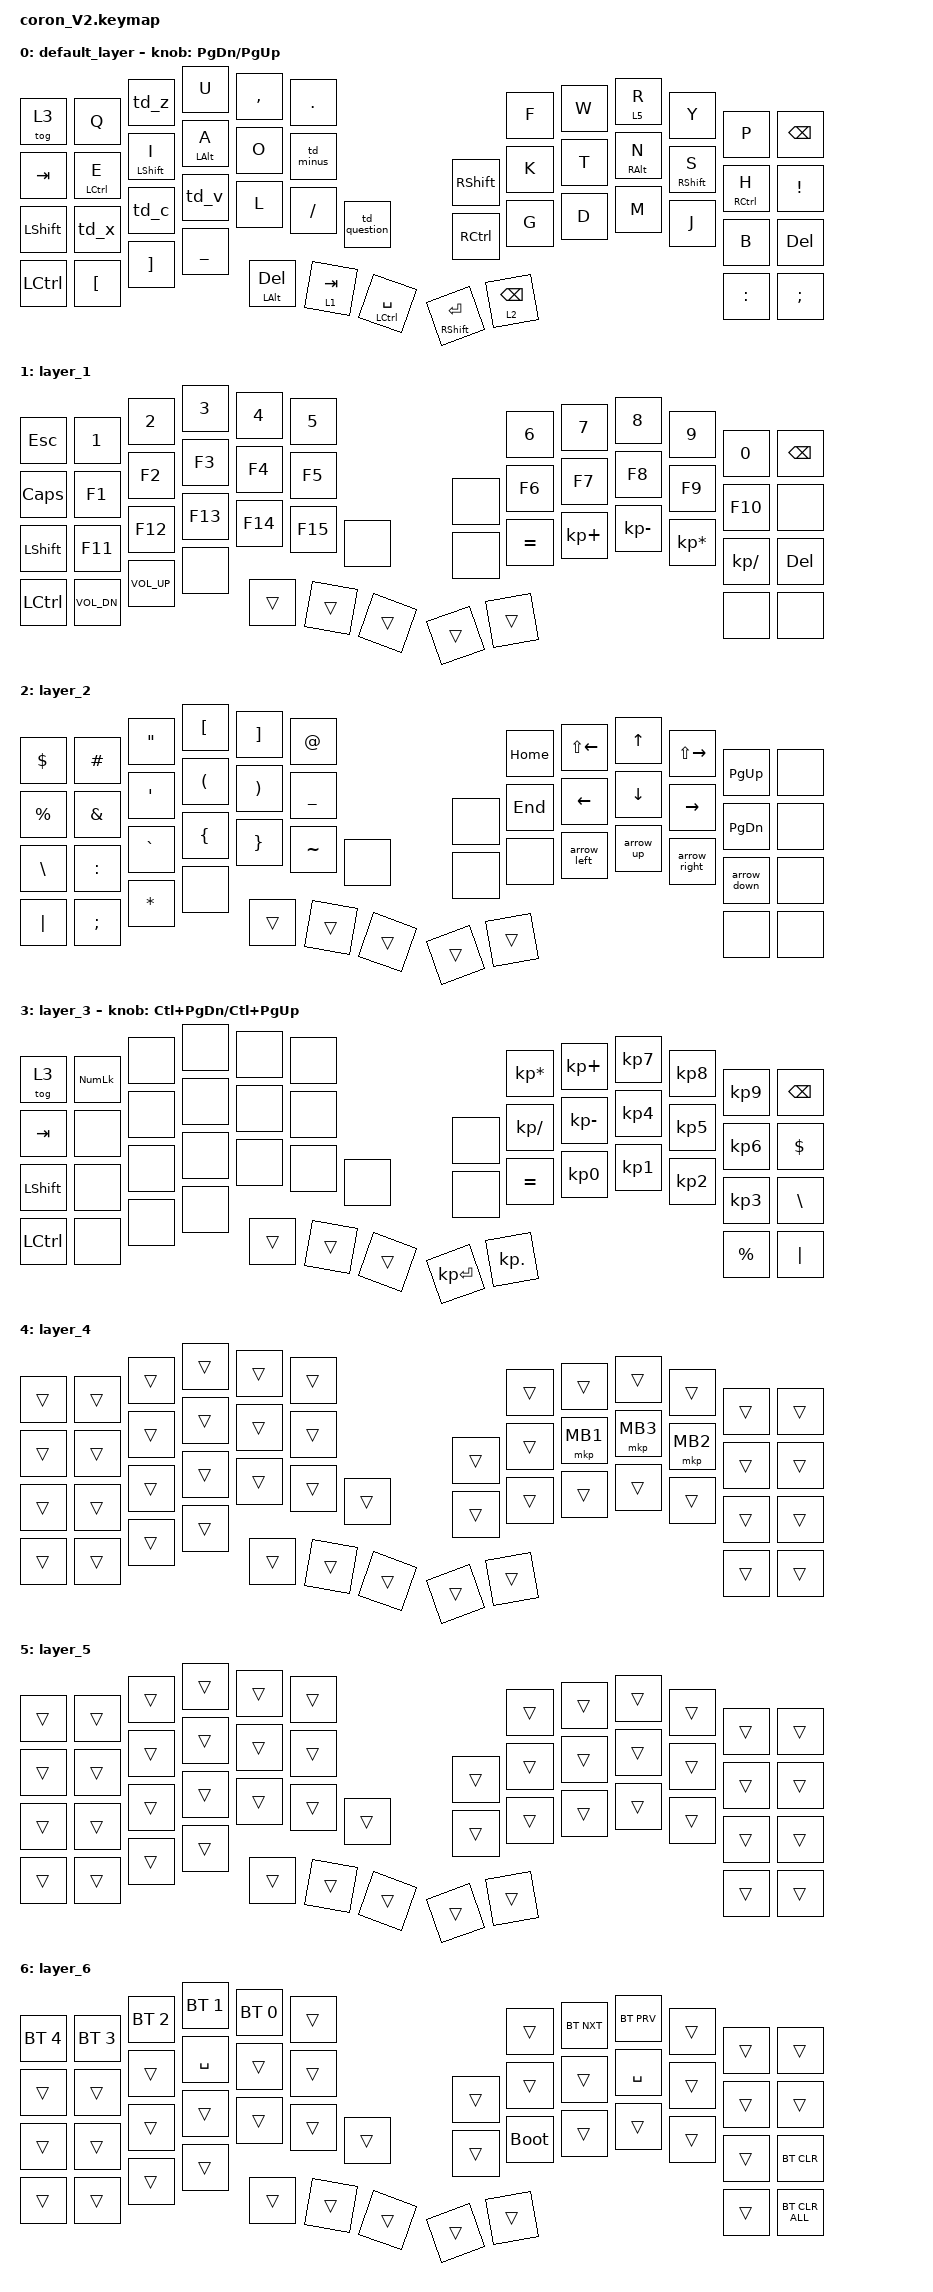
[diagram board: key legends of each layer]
/* coron_V2.keymap */

#include <behaviors.dtsi>
#include <dt-bindings/zmk/bt.h>
#include <dt-bindings/zmk/keys.h>
#include <dt-bindings/zmk/pointing.h>

&mt {
    flavor = "balanced";
    quick-tap-ms = <0>;
};

/* Auto-mouse (layer 4) and scroll (layer 5) live in coron_V2_R.overlay as
   input-processors on &trackball_listener. */

/ {
    combos {
        compatible = "zmk,combos";

        /* Positions follow &default_transform in coron_V2.dtsi:
             row0 0..11   row1 12..24   row2 25..38   row3 39..49 */

        lang_e {
            bindings = <&to_layer_0 LANGUAGE_2>;
            key-positions = <16 15>;
            layers = <0 4>;
        };

        lang_j {
            bindings = <&to_layer_0 LANGUAGE_1>;
            key-positions = <20 21>;
            layers = <0 4>;
        };

        double_n {
            bindings = <&double_n>;
            key-positions = <21 22>;
            layers = <0>;
        };

        mo_6 {                      /* td_1 + td_2 held together */
            bindings = <&mo 6>;
            key-positions = <44 47>;
            layers = <0 4>;
        };
    };

    macros {
        to_layer_0: to_layer_0 {
            compatible = "zmk,behavior-macro-one-param";
            #binding-cells = <1>;
            bindings = <&to 0 &macro_param_1to1 &kp MACRO_PLACEHOLDER>;
            label = "TO_LAYER_0";
        };

        double_n: double_N {
            compatible = "zmk,behavior-macro";
            #binding-cells = <0>;
            bindings = <&kp N &kp N>;
            label = "DOUBLE_N";
        };

        /* Arrow symbols via Windows Unicode hex input.
           Requires HKCU\Control Panel\Input Method\EnableHexNumpad = "1"
           (REG_SZ, then sign out/in) and NumLock on. */

        arrow_left: arrow_left {          /* ← : Alt + KP_PLUS + 2190 (Unicode hex input) */
            compatible = "zmk,behavior-macro";
            #binding-cells = <0>;
            bindings
                = <&macro_press &kp LEFT_ALT>
                , <&macro_tap &kp KP_PLUS &kp KP_N2 &kp KP_N1 &kp KP_N9 &kp KP_N0>
                , <&macro_release &kp LEFT_ALT>
                ;
            label = "ARROW_LEFT";
        };

        arrow_up: arrow_up {          /* ↑ : Alt + KP_PLUS + 2191 (Unicode hex input) */
            compatible = "zmk,behavior-macro";
            #binding-cells = <0>;
            bindings
                = <&macro_press &kp LEFT_ALT>
                , <&macro_tap &kp KP_PLUS &kp KP_N2 &kp KP_N1 &kp KP_N9 &kp KP_N1>
                , <&macro_release &kp LEFT_ALT>
                ;
            label = "ARROW_UP";
        };

        arrow_right: arrow_right {          /* → : Alt + KP_PLUS + 2192 (Unicode hex input) */
            compatible = "zmk,behavior-macro";
            #binding-cells = <0>;
            bindings
                = <&macro_press &kp LEFT_ALT>
                , <&macro_tap &kp KP_PLUS &kp KP_N2 &kp KP_N1 &kp KP_N9 &kp KP_N2>
                , <&macro_release &kp LEFT_ALT>
                ;
            label = "ARROW_RIGHT";
        };

        arrow_down: arrow_down {          /* ↓ : Alt + KP_PLUS + 2193 (Unicode hex input) */
            compatible = "zmk,behavior-macro";
            #binding-cells = <0>;
            bindings
                = <&macro_press &kp LEFT_ALT>
                , <&macro_tap &kp KP_PLUS &kp KP_N2 &kp KP_N1 &kp KP_N9 &kp KP_N3>
                , <&macro_release &kp LEFT_ALT>
                ;
            label = "ARROW_DOWN";
        };
    };

    behaviors {
        lt_to_layer_0: lt_to_layer_0 {
            compatible = "zmk,behavior-hold-tap";
            label = "LAYER_TAP_TO_0";
            bindings = <&mo>, <&to_layer_0>;

            #binding-cells = <2>;
            tapping-term-ms = <200>;
        };

        td_z: td_z {
            compatible = "zmk,behavior-tap-dance";
            label = "TD_Z";
            #binding-cells = <0>;
            bindings = <&kp Z>, <&kp LC(Z)>, <&kp LC(LS(Z))>;
        };

        td_x: td_x {
            compatible = "zmk,behavior-tap-dance";
            label = "TD_X";
            #binding-cells = <0>;
            bindings = <&kp X>, <&kp LC(X)>;
        };

        td_c: td_c {
            compatible = "zmk,behavior-tap-dance";
            label = "TD_C";
            #binding-cells = <0>;
            bindings = <&kp C>, <&kp LC(C)>;
        };

        td_v: td_v {
            compatible = "zmk,behavior-tap-dance";
            label = "TD_V";
            #binding-cells = <0>;
            bindings = <&kp V>, <&kp LC(V)>;
        };

        td_minus: td_minus {
            compatible = "zmk,behavior-tap-dance";
            label = "TD_MINUS";
            #binding-cells = <0>;
            bindings = <&kp MINUS>, <&kp TILDE>;
        };

        td_question: td_question {
            compatible = "zmk,behavior-tap-dance";
            label = "TD_QUESTION";
            #binding-cells = <0>;
            bindings = <&kp QUESTION>, <&kp EXCLAMATION>;
        };

        /* td_*: tap = key, hold = layer/modifier, tap then hold = key repeat
           (hold-tap with quick-tap-ms). Usage: &td_1 <layer> <key>, etc. */

        td_1: td_1 {
            compatible = "zmk,behavior-hold-tap";
            label = "TD_1";
            #binding-cells = <2>;
            bindings = <&mo>, <&kp>;
            flavor = "balanced";
            tapping-term-ms = <150>;
            quick-tap-ms = <150>;
        };

        td_2: td_2 {
            compatible = "zmk,behavior-hold-tap";
            label = "TD_2";
            #binding-cells = <2>;
            bindings = <&mo>, <&kp>;
            flavor = "balanced";
            tapping-term-ms = <150>;
            quick-tap-ms = <150>;
        };

        td_3: td_3 {
            compatible = "zmk,behavior-hold-tap";
            label = "TD_3";
            #binding-cells = <2>;
            bindings = <&kp>, <&kp>;
            flavor = "balanced";
            tapping-term-ms = <150>;
            quick-tap-ms = <150>;
        };

        td_space: td_space {
            compatible = "zmk,behavior-hold-tap";
            label = "TD_SPACE";
            #binding-cells = <2>;
            bindings = <&kp>, <&kp>;
            flavor = "balanced";
            tapping-term-ms = <150>;
            quick-tap-ms = <150>;
        };

        td_enter: td_enter {
            compatible = "zmk,behavior-hold-tap";
            label = "TD_ENTER";
            #binding-cells = <2>;
            bindings = <&kp>, <&kp>;
            flavor = "balanced";
            tapping-term-ms = <150>;
            quick-tap-ms = <150>;
        };
    };

    keymap {
        compatible = "zmk,keymap";

        default_layer {
            bindings = <
&tog 3            &kp Q             &td_z              &kp U      &kp COMMA              &kp PERIOD                                                     &kp F             &kp W            &lt 5 R          &kp Y      &kp P            &kp BACKSPACE
&kp TAB           &mt LCTRL E       &mt LSHFT I        &mt LALT A &kp O                  &td_minus                                &kp RIGHT_SHIFT       &kp K             &kp T            &mt RALT N       &mt RSHFT S &mt RCTRL H   &kp EXCLAMATION
&kp LEFT_SHIFT    &td_x             &td_c              &td_v      &kp L                  &kp SLASH    &td_question                &kp RIGHT_CONTROL     &kp G             &kp D            &kp M            &kp J      &kp B            &kp DELETE
&kp LEFT_CONTROL  &kp LEFT_BRACKET  &kp RIGHT_BRACKET  &kp UNDER  &td_3 LEFT_ALT DELETE  &td_1 1 TAB  &td_space LEFT_CONTROL SPACE  &td_enter RIGHT_SHIFT ENTER  &td_2 2 BACKSPACE  &kp COLON  &kp SEMICOLON
            >;

            sensor-bindings = <&inc_dec_kp PAGE_DOWN PAGE_UP>;
        };

        layer_1 {
            bindings = <
&kp ESCAPE        &kp NUMBER_1    &kp NUMBER_2    &kp NUMBER_3  &kp NUMBER_4  &kp NUMBER_5                  &kp NUMBER_6  &kp NUMBER_7  &kp NUMBER_8     &kp NUMBER_9     &kp NUMBER_0     &kp BACKSPACE
&kp CAPSLOCK      &kp F1          &kp F2          &kp F3        &kp F4        &kp F5                 &none  &kp F6        &kp F7        &kp F8           &kp F9           &kp F10          &none
&kp LEFT_SHIFT    &kp F11         &kp F12         &kp F13       &kp F14       &kp F15         &none  &none  &kp EQUAL     &kp KP_PLUS   &kp KP_MINUS     &kp KP_MULTIPLY  &kp KP_DIVIDE    &kp DELETE
&kp LEFT_CONTROL  &kp C_VOL_DN    &kp C_VOL_UP    &none         &trans        &trans          &trans &trans &trans        &none         &none
            >;
        };

        layer_2 {
            bindings = <
&kp DOLLAR    &kp HASH       &kp DOUBLE_QUOTES  &kp LEFT_BRACKET  &kp RIGHT_BRACKET  &kp AT_SIGN                &kp HOME  &kp LS(LEFT_ARROW)  &kp UP_ARROW    &kp LS(RIGHT_ARROW)  &kp PAGE_UP    &none
&kp PERCENT   &kp AMPERSAND  &kp SINGLE_QUOTE   &kp LEFT_PARENTHESIS  &kp RIGHT_PARENTHESIS  &kp UNDERSCORE  &none  &kp END  &kp LEFT_ARROW      &kp DOWN_ARROW  &kp RIGHT_ARROW      &kp PAGE_DOWN  &none
&kp BACKSLASH &kp COLON      &kp GRAVE          &kp LEFT_BRACE    &kp RIGHT_BRACE    &kp TILDE    &none     &none  &none     &arrow_left         &arrow_up       &arrow_right         &arrow_down    &none
&kp PIPE      &kp SEMICOLON  &kp ASTERISK       &none             &trans             &trans       &trans    &trans &trans    &none               &none
            >;
        };

        layer_3 {
            bindings = <
&tog 3            &kp KP_NUMLOCK  &none  &none  &none  &none                  &kp KP_MULTIPLY  &kp KP_PLUS   &kp KP_NUMBER_7  &kp KP_NUMBER_8  &kp KP_NUMBER_9  &kp BACKSPACE
&kp TAB           &none           &none  &none  &none  &none          &none  &kp KP_DIVIDE    &kp KP_MINUS  &kp KP_NUMBER_4  &kp KP_NUMBER_5  &kp KP_NUMBER_6  &kp DOLLAR
&kp LEFT_SHIFT    &none           &none  &none  &none  &none  &none    &none  &kp EQUAL        &kp KP_NUMBER_0  &kp KP_NUMBER_1  &kp KP_NUMBER_2  &kp KP_NUMBER_3  &kp BACKSLASH
&kp LEFT_CONTROL  &none           &none  &none  &trans &trans          &trans &kp KP_ENTER     &kp KP_DOT    &kp PERCENT      &kp PIPE
            >;

            sensor-bindings = <&inc_dec_kp LC(PAGE_DOWN) LC(PAGE_UP)>;
        };

        layer_4 {
            bindings = <
&trans  &trans  &trans  &trans  &trans  &trans  &trans  &trans  &trans  &trans    &trans    &trans
&trans  &trans  &trans  &trans  &trans  &trans  &trans  &trans  &mkp MB1  &mkp MB3  &mkp MB2  &trans  &trans
&trans  &trans  &trans  &trans  &trans  &trans  &trans  &trans  &trans  &trans    &trans    &trans    &trans  &trans
&trans  &trans  &trans  &trans  &trans  &trans  &trans  &trans  &trans  &trans    &trans
            >;
        };

        layer_5 {
            bindings = <
&trans  &trans  &trans  &trans  &trans  &trans  &trans  &trans  &trans  &trans  &trans  &trans
&trans  &trans  &trans  &trans  &trans  &trans  &trans  &trans  &trans  &trans  &trans  &trans  &trans
&trans  &trans  &trans  &trans  &trans  &trans  &trans  &trans  &trans  &trans  &trans  &trans  &trans  &trans
&trans  &trans  &trans  &trans  &trans  &trans  &trans  &trans  &trans  &trans  &trans
            >;
        };

        layer_6 {
            bindings = <
&bt BT_SEL 4  &bt BT_SEL 3  &bt BT_SEL 2  &bt BT_SEL 1  &bt BT_SEL 0  &trans                  &trans       &bt BT_NXT   &bt BT_PRV  &trans  &trans  &trans
&trans        &trans        &trans        &kp SPACE     &trans        &trans          &trans  &trans       &trans       &kp SPACE   &trans  &trans  &trans
&trans        &trans        &trans        &trans        &trans        &trans  &trans  &trans  &bootloader  &trans       &trans      &trans  &trans  &bt BT_CLR
&trans        &trans        &trans        &trans        &trans        &trans  &trans  &trans  &trans       &trans       &bt BT_CLR_ALL
            >;
        };
    };
};
